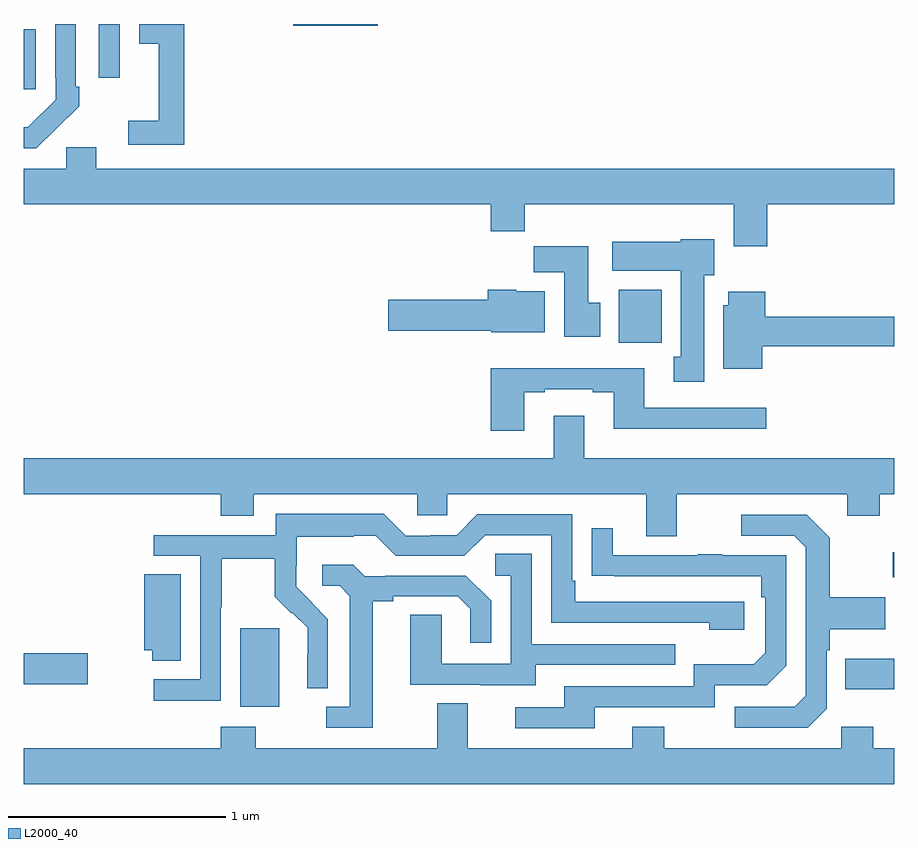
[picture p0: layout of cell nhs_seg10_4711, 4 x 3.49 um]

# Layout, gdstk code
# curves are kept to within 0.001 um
import gdstk
lib = gdstk.Library(unit=1e-6, precision=1e-09)
def R(c, l, rs):  # rectangles x0, y0, x1, y1
    for r in rs: c.add(gdstk.rectangle(r[:2], r[2:], *l))
def P(c, l, *ps):  # polygons
    for p in ps: c.add(gdstk.Polygon(p, *l))
L2000_40 = (2000, 40)

nhs_seg10_4711 = lib.new_cell('nhs_seg10_4711')
R(nhs_seg10_4711, L2000_40, [(381.995,1275.362,382.174,1275.723), (384.775,1275.443,385,1275.583), (381,1275.466,381.295,1275.608), (384.993,1275.959,385,1276.072), (383.735,1277.036,383.932,1277.278), (381,1278.201,381.055,1278.475), (381.345,1278.252,381.441,1278.5), (382.238,1278.491,382.627,1278.5)])
P(nhs_seg10_4711, L2000_40, [(381.737,1278.5),(381.53,1278.5),(381.53,1278.41),(381.62,1278.41),(381.62,1278.055),(381.48,1278.055),(381.48,1277.946),(381.737,1277.946)],
  [(381.149,1278.019),(381.15,1278.018),(381.255,1278.123),(381.255,1278.211),(381.24,1278.211),(381.24,1278.5),(381.144,1278.5),(381.144,1278.253),(381.147,1278.253),(381.147,1278.153),(381.019,1278.025),(381,1278.025),(381,1277.928),(381.058,1277.928)],
  [(384.416,1277.672),(385,1277.672),(385,1277.836),(381.334,1277.836),(381.334,1277.934),(381.195,1277.934),(381.195,1277.836),(381,1277.836),(381,1277.672),(383.147,1277.672),(383.147,1277.548),(383.303,1277.548),(383.303,1277.672),(384.263,1277.672),(384.263,1277.478),(384.416,1277.478)],
  [(384.127,1277.346),(384.172,1277.346),(384.172,1277.512),(384.018,1277.512),(384.018,1277.5),(383.703,1277.5),(383.703,1277.366),(384.02,1277.366),(384.02,1276.97),(383.987,1276.97),(383.987,1276.857),(384.127,1276.857)],
  [(383.65,1277.22),(383.593,1277.22),(383.593,1277.479),(383.344,1277.479),(383.344,1277.36),(383.483,1277.36),(383.483,1277.064),(383.65,1277.064)],
  [(383.395,1277.272),(383.262,1277.272),(383.262,1277.278),(383.132,1277.278),(383.132,1277.232),(382.674,1277.232),(382.674,1277.09),(383.148,1277.09),(383.148,1277.084),(383.395,1277.084)],
  [(384.394,1277.02),(385,1277.02),(385,1277.156),(384.407,1277.156),(384.407,1277.269),(384.236,1277.269),(384.236,1277.208),(384.215,1277.208),(384.215,1276.916),(384.394,1276.916)],
  [(383.299,1276.809),(383.395,1276.809),(383.395,1276.821),(383.615,1276.821),(383.615,1276.809),(383.711,1276.809),(383.711,1276.64),(384.412,1276.64),(384.412,1276.737),(383.851,1276.737),(383.851,1276.918),(383.147,1276.918),(383.147,1276.632),(383.299,1276.632)],
  [(384.001,1276.34),(384.785,1276.34),(384.785,1276.241),(384.933,1276.241),(384.933,1276.34),(385,1276.34),(385,1276.504),(383.575,1276.504),(383.575,1276.699),(383.435,1276.699),(383.435,1276.504),(381,1276.504),(381,1276.34),(381.905,1276.34),(381.905,1276.241),(382.057,1276.241),(382.057,1276.34),(382.809,1276.34),(382.809,1276.242),(382.947,1276.242),(382.947,1276.34),(383.861,1276.34),(383.861,1276.146),(384.001,1276.146)],
  [(381.906,1275.82),(381.909,1275.82),(381.909,1276.044),(382.153,1276.044),(382.153,1275.869),(382.23,1275.792),(382.233,1275.795),(382.304,1275.725),(382.304,1275.602),(382.302,1275.602),(382.302,1275.448),(382.398,1275.448),(382.398,1275.766),(382.252,1275.914),(382.252,1276.011),(382.254,1276.011),(382.254,1276.145),(382.517,1276.145),(382.517,1276.149),(382.617,1276.149),(382.71,1276.056),(383.025,1276.056),(383.121,1276.152),(383.424,1276.152),(383.424,1275.75),(384.149,1275.75),(384.149,1275.716),(384.31,1275.716),(384.31,1275.846),(383.533,1275.846),(383.533,1275.943),(383.52,1275.943),(383.52,1276.248),(383.085,1276.248),(382.989,1276.152),(382.871,1276.152),(382.871,1276.149),(382.755,1276.149),(382.655,1276.249),(382.158,1276.249),(382.158,1276.152),(381.597,1276.152),(381.597,1276.056),(381.81,1276.056),(381.81,1275.489),(381.597,1275.489),(381.597,1275.391),(381.906,1275.391)],
  [(384.69,1275.354),(384.69,1275.623),(384.703,1275.623),(384.703,1275.719),(384.959,1275.719),(384.959,1275.867),(384.703,1275.867),(384.703,1276.139),(384.597,1276.245),(384.297,1276.245),(384.297,1276.149),(384.54,1276.149),(384.594,1276.095),(384.594,1275.414),(384.543,1275.363),(384.267,1275.363),(384.267,1275.267),(384.603,1275.267)],
  [(383.623,1275.36),(384.174,1275.36),(384.174,1275.462),(384.414,1275.462),(384.504,1275.552),(384.504,1276.059),(384.209,1276.059),(384.209,1276.064),(384.097,1276.064),(384.097,1276.059),(383.707,1276.059),(383.707,1276.183),(383.611,1276.183),(383.611,1275.964),(384.388,1275.963),(384.388,1275.866),(384.408,1275.866),(384.408,1275.612),(384.355,1275.559),(384.078,1275.559),(384.078,1275.456),(383.483,1275.456),(383.483,1275.36),(383.259,1275.36),(383.259,1275.264),(383.623,1275.264)],
  [(383.353,1275.555),(383.993,1275.555),(383.993,1275.651),(383.334,1275.651),(383.334,1276.067),(383.166,1276.067),(383.166,1275.966),(383.238,1275.966),(383.238,1275.561),(382.92,1275.561),(382.92,1275.785),(382.775,1275.785),(382.775,1275.465),(383.099,1275.465),(383.099,1275.461),(383.353,1275.461)],
  [(382.603,1275.848),(382.699,1275.848),(382.699,1275.87),(382.994,1275.87),(383.051,1275.813),(383.051,1275.657),(383.148,1275.657),(383.148,1275.85),(383.032,1275.966),(382.66,1275.966),(382.66,1275.963),(382.566,1275.963),(382.514,1276.015),(382.371,1276.015),(382.371,1275.918),(382.452,1275.918),(382.499,1275.871),(382.499,1275.363),(382.389,1275.363),(382.389,1275.267),(382.603,1275.267)],
  [(381.721,1275.971),(381.554,1275.971),(381.554,1275.623),(381.59,1275.623),(381.59,1275.574),(381.721,1275.574)],
  [(385,1275.172),(384.903,1275.172),(384.903,1275.271),(384.756,1275.271),(384.756,1275.172),(383.943,1275.172),(383.943,1275.271),(383.795,1275.271),(383.795,1275.172),(383.041,1275.172),(383.041,1275.38),(382.901,1275.38),(382.901,1275.172),(382.065,1275.172),(382.065,1275.271),(381.905,1275.271),(381.905,1275.172),(381,1275.172),(381,1275.008),(385,1275.008)])

lib.write_gds('nhs_seg10_4711.gds')
